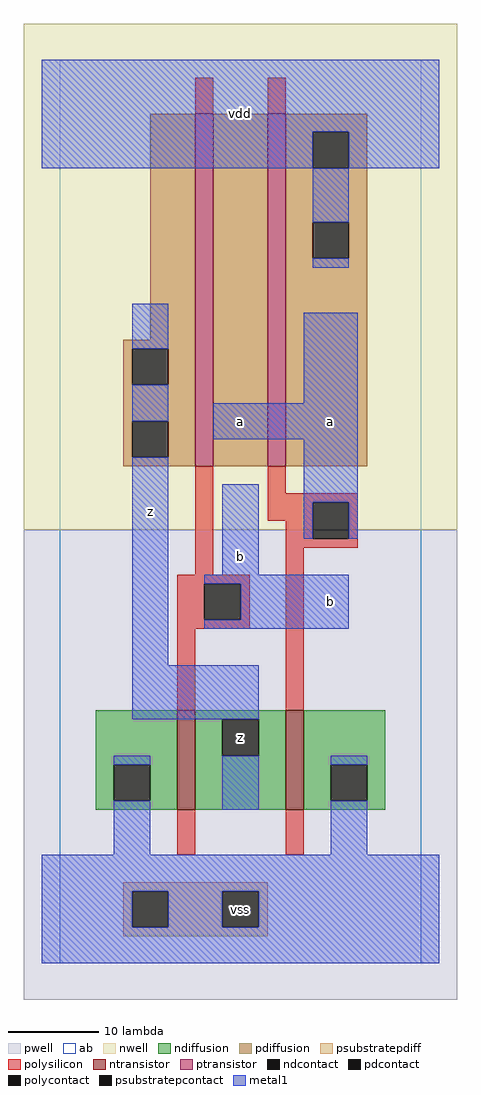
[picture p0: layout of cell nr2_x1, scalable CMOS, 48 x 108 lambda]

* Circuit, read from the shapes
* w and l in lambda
.subckt nr2_x1 a b vdd vss z
M1 z b vss vss nfet w=11 l=2
M2 vss a z vss nfet w=11 l=2
M3 n1 b z n2 pfet w=39 l=2
M4 vdd a n1 n2 pfet w=39 l=2
.ends

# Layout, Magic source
magic
tech scmos
<< ab >>
rect 0 0 40 100
<< pwell >>
rect -4 -4 44 48
<< nwell >>
rect -4 48 44 104
<< polysilicon >>
rect 15 94 17 98
rect 23 94 25 98
rect 15 43 17 55
rect 23 52 25 55
rect 23 51 33 52
rect 23 49 28 51
rect 25 47 28 49
rect 32 47 33 51
rect 25 46 33 47
rect 13 42 21 43
rect 13 38 16 42
rect 20 38 21 42
rect 13 37 21 38
rect 13 28 15 37
rect 25 28 27 46
rect 13 12 15 17
rect 25 12 27 17
<< ndiffusion >>
rect 4 22 13 28
rect 4 18 6 22
rect 10 18 13 22
rect 4 17 13 18
rect 15 27 25 28
rect 15 23 18 27
rect 22 23 25 27
rect 15 17 25 23
rect 27 22 36 28
rect 27 18 30 22
rect 34 18 36 22
rect 27 17 36 18
<< pdiffusion >>
rect 10 69 15 94
rect 7 68 15 69
rect 7 64 8 68
rect 12 64 15 68
rect 7 60 15 64
rect 7 56 8 60
rect 12 56 15 60
rect 7 55 15 56
rect 17 55 23 94
rect 25 92 34 94
rect 25 88 28 92
rect 32 88 34 92
rect 25 82 34 88
rect 25 78 28 82
rect 32 78 34 82
rect 25 55 34 78
<< metal1 >>
rect -2 92 42 100
rect -2 88 28 92
rect 32 88 42 92
rect 28 82 32 88
rect 28 77 32 78
rect 8 68 12 73
rect 8 60 12 64
rect 27 62 33 72
rect 17 58 33 62
rect 8 33 12 56
rect 18 43 22 53
rect 27 51 33 58
rect 27 47 28 51
rect 32 47 33 51
rect 16 42 32 43
rect 20 38 32 42
rect 16 37 32 38
rect 8 27 22 33
rect 6 22 10 23
rect 6 12 10 18
rect 18 17 22 23
rect 30 22 34 23
rect 30 12 34 18
rect -2 8 42 12
rect -2 4 8 8
rect 12 4 18 8
rect 22 4 42 8
rect -2 0 42 4
<< ntransistor >>
rect 13 17 15 28
rect 25 17 27 28
<< ptransistor >>
rect 15 55 17 94
rect 23 55 25 94
<< polycontact >>
rect 28 47 32 51
rect 16 38 20 42
<< ndcontact >>
rect 6 18 10 22
rect 18 23 22 27
rect 30 18 34 22
<< pdcontact >>
rect 8 64 12 68
rect 8 56 12 60
rect 28 88 32 92
rect 28 78 32 82
<< psubstratepcontact >>
rect 8 4 12 8
rect 18 4 22 8
<< psubstratepdiff >>
rect 7 8 23 9
rect 7 4 8 8
rect 12 4 18 8
rect 22 4 23 8
rect 7 3 23 4
<< labels >>
rlabel metal1 10 50 10 50 6 z
rlabel psubstratepcontact 20 6 20 6 6 vss
rlabel ndcontact 20 25 20 25 6 z
rlabel metal1 20 45 20 45 6 b
rlabel metal1 20 60 20 60 6 a
rlabel metal1 20 94 20 94 6 vdd
rlabel metal1 30 40 30 40 6 b
rlabel metal1 30 60 30 60 6 a
<< end >>
